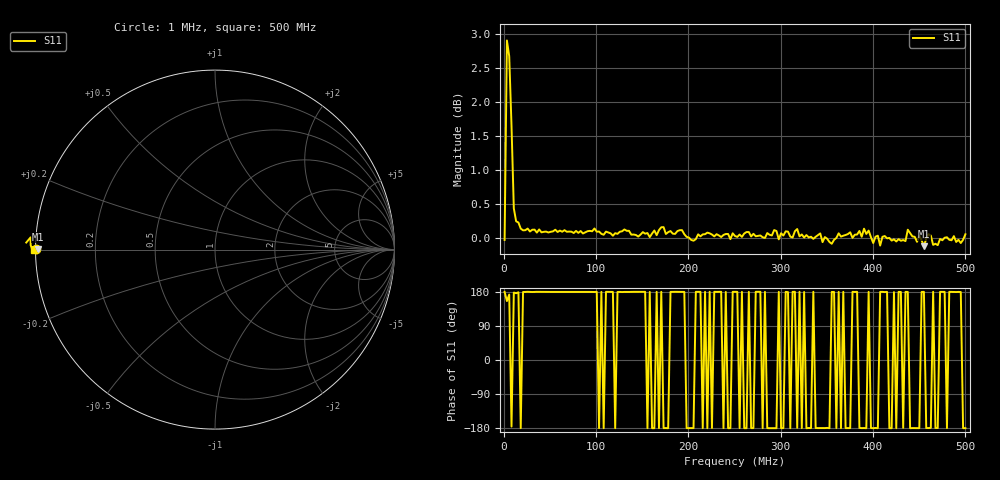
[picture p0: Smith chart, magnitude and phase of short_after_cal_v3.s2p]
! PocketVna 1.54  pocketvna.com
! Live measurements ((Reflection-S11) Linear 1000000-500000000/201 calibrated)
# MHz S DB R 50
! MHz  dBS11  <S11  dBS21  <S21  dBS12  <S12  dBS22  <S22
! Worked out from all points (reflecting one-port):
!   201 points, 1 MHz to 500 MHz, reference 50 ohm
!   lowest |S11| = -0.1 dB at 455.1 MHz (marker M1), VSWR 154.17, Z = 0.324 + j0.0793 ohm
!   phase of S11 starts at 180 deg and turns +0 deg over the sweep
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1  -0.02 179.7  -200.00 0.0  -200.00 0.0  -200.00 0.0
3.495  2.91 155.5  -200.00 0.0  -200.00 0.0  -200.00 0.0
5.99  2.68 172.8  -200.00 0.0  -200.00 0.0  -200.00 0.0
8.485  1.65 -175.7  -200.00 0.0  -200.00 0.0  -200.00 0.0
10.98  0.44 177.9  -200.00 0.0  -200.00 0.0  -200.00 0.0
13.475  0.25 176.2  -200.00 0.0  -200.00 0.0  -200.00 0.0
18.465  0.14 -179.8  -200.00 0.0  -200.00 0.0  -200.00 0.0
85.83  0.07 179.9  -200.00 0.0  -200.00 0.0  -200.00 0.0
168.165  0.12 -179.8  -200.00 0.0  -200.00 0.0  -200.00 0.0
250.5  0.04 179.9  -200.00 0.0  -200.00 0.0  -200.00 0.0
302.895  0.04 -179.7  -200.00 0.0  -200.00 0.0  -200.00 0.0
307.885  0.10 179.1  -200.00 0.0  -200.00 0.0  -200.00 0.0
317.865  0.14 -179.1  -200.00 0.0  -200.00 0.0  -200.00 0.0
335.33  -0.01 180.0  -200.00 0.0  -200.00 0.0  -200.00 0.0
417.665  0.01 -179.9  -200.00 0.0  -200.00 0.0  -200.00 0.0
430.14  -0.03 179.5  -200.00 0.0  -200.00 0.0  -200.00 0.0
432.635  -0.02 -179.0  -200.00 0.0  -200.00 0.0  -200.00 0.0
437.625  0.13 179.6  -200.00 0.0  -200.00 0.0  -200.00 0.0
455.09  -0.11 179.8  -200.00 0.0  -200.00 0.0  -200.00 0.0
460.08  0.06 -179.6  -200.00 0.0  -200.00 0.0  -200.00 0.0
470.06  -0.10 -179.6  -200.00 0.0  -200.00 0.0  -200.00 0.0
500  0.06 -179.8  -200.00 0.0  -200.00 0.0  -200.00 0.0
